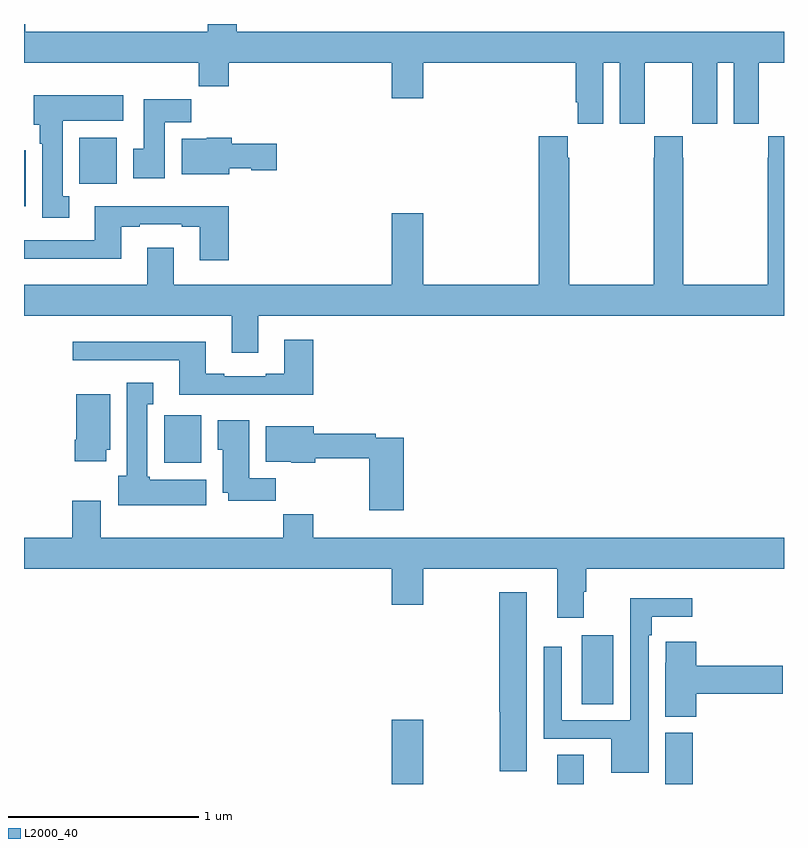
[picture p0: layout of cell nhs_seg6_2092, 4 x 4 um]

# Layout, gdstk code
import gdstk
lib = gdstk.Library(unit=1e-6, precision=1e-09)
def R(c, l, rs):  # rectangles x0, y0, x1, y1
    for r in rs: c.add(gdstk.rectangle(r[:2], r[2:], *l))
def P(c, l, *ps):  # polygons
    for p in ps: c.add(gdstk.Polygon(p, *l))
L2000_40 = (2000, 40)

nhs_seg6_2092 = lib.new_cell('nhs_seg6_2092')
R(nhs_seg6_2092, L2000_40, [(236.936,983.5,237.1,983.839), (237.806,983.5,237.946,983.654), (238.376,983.5,238.52,983.769), (237.935,983.92,238.102,984.283), (235.737,985.19,235.933,985.44), (235,986.54,235.009,986.836), (235.292,986.66,235.489,986.902)])
P(nhs_seg6_2092, L2000_40, [(238.048,987.296),(238.136,987.296),(238.136,986.976),(238.266,986.976),(238.266,987.088),(238.267,987.088),(238.267,987.296),(238.517,987.296),(238.517,987.088),(238.518,987.088),(238.518,986.976),(238.648,986.976),(238.648,987.296),(238.736,987.296),(238.736,986.976),(238.866,986.976),(238.866,987.088),(238.867,987.088),(238.867,987.296),(239,987.296),(239,987.46),(236.12,987.46),(236.12,987.5),(235.967,987.5),(235.967,987.46),(235.007,987.46),(235.007,987.5),(235,987.5),(235,987.296),(235.921,987.296),(235.921,987.172),(236.078,987.172),(236.078,987.296),(236.936,987.296),(236.936,987.108),(237.1,987.108),(237.1,987.296),(237.905,987.296),(237.905,987.088),(237.914,987.088),(237.914,986.976),(238.048,986.976)],
  [(235.237,986.594),(235.204,986.594),(235.204,986.99),(235.522,986.99),(235.522,987.124),(235.052,987.124),(235.052,986.97),(235.082,986.97),(235.082,986.87),(235.097,986.87),(235.097,986.481),(235.237,986.481)],
  [(235.741,986.984),(235.88,986.984),(235.88,987.103),(235.631,987.103),(235.631,986.844),(235.574,986.844),(235.574,986.688),(235.741,986.688)],
  [(236.233,985.964),(239,985.964),(239,986.908),(238.917,986.908),(238.917,986.795),(238.915,986.795),(238.915,986.128),(238.47,986.128),(238.47,986.795),(238.467,986.795),(238.467,986.908),(238.317,986.908),(238.317,986.795),(238.315,986.795),(238.315,986.128),(237.87,986.128),(237.87,986.795),(237.863,986.795),(237.863,986.908),(237.71,986.908),(237.71,986.128),(237.1,986.128),(237.1,986.503),(236.936,986.503),(236.936,986.128),(235.789,986.128),(235.789,986.323),(235.649,986.323),(235.649,986.128),(235,986.128),(235,985.964),(236.093,985.964),(236.093,985.77),(236.233,985.77)],
  [(236.08,986.741),(236.196,986.741),(236.196,986.729),(236.329,986.729),(236.329,986.871),(236.093,986.871),(236.093,986.902),(235.962,986.902),(235.962,986.896),(235.829,986.896),(235.829,986.708),(236.08,986.708)],
  [(236.078,986.542),(235.373,986.542),(235.373,986.361),(235,986.361),(235,986.264),(235.513,986.264),(235.513,986.433),(235.609,986.433),(235.609,986.445),(235.829,986.445),(235.829,986.433),(235.925,986.433),(235.925,986.256),(236.078,986.256)],
  [(236.522,985.837),(236.369,985.837),(236.369,985.66),(236.273,985.66),(236.273,985.647),(236.053,985.647),(236.053,985.66),(235.957,985.66),(235.957,985.828),(235.257,985.828),(235.257,985.731),(235.817,985.731),(235.817,985.55),(236.522,985.55)],
  [(235.96,985.102),(235.662,985.102),(235.662,985.116),(235.648,985.116),(235.648,985.499),(235.681,985.499),(235.681,985.612),(235.541,985.612),(235.541,985.122),(235.496,985.122),(235.496,984.968),(235.96,984.968)],
  [(235.432,985.26),(235.453,985.26),(235.453,985.552),(235.274,985.552),(235.274,985.312),(235.267,985.312),(235.267,985.2),(235.432,985.2)],
  [(236.324,985.108),(236.185,985.108),(236.185,985.414),(236.021,985.414),(236.021,985.26),(236.045,985.26),(236.045,985.034),(236.075,985.034),(236.075,984.99),(236.324,984.99)],
  [(236.999,985.323),(236.852,985.323),(236.852,985.343),(236.524,985.343),(236.524,985.384),(236.273,985.384),(236.273,985.196),(236.406,985.196),(236.406,985.19),(236.532,985.19),(236.532,985.215),(236.816,985.215),(236.816,984.942),(236.999,984.942)],
  [(237.946,984.512),(237.959,984.512),(237.959,984.632),(239,984.632),(239,984.796),(236.522,984.796),(236.522,984.92),(236.365,984.92),(236.365,984.796),(235.405,984.796),(235.405,984.991),(235.253,984.991),(235.253,984.796),(235,984.796),(235,984.632),(236.936,984.632),(236.936,984.444),(237.1,984.444),(237.1,984.632),(237.806,984.632),(237.806,984.375),(237.946,984.375)],
  [(237.646,984.508),(237.5,984.508),(237.5,983.88),(237.505,983.88),(237.505,983.568),(237.646,983.568)],
  [(238.287,984.284),(238.303,984.284),(238.303,984.38),(238.516,984.38),(238.516,984.478),(238.191,984.478),(238.191,983.835),(237.831,983.835),(237.831,984.223),(237.735,984.223),(237.735,983.739),(238.091,983.739),(238.091,983.558),(238.287,983.558)],
  [(238.538,983.975),(238.993,983.975),(238.993,984.122),(238.538,984.122),(238.538,984.25),(238.377,984.25),(238.377,984.137),(238.376,984.137),(238.376,983.854),(238.538,983.854)])

lib.write_gds('nhs_seg6_2092.gds')
